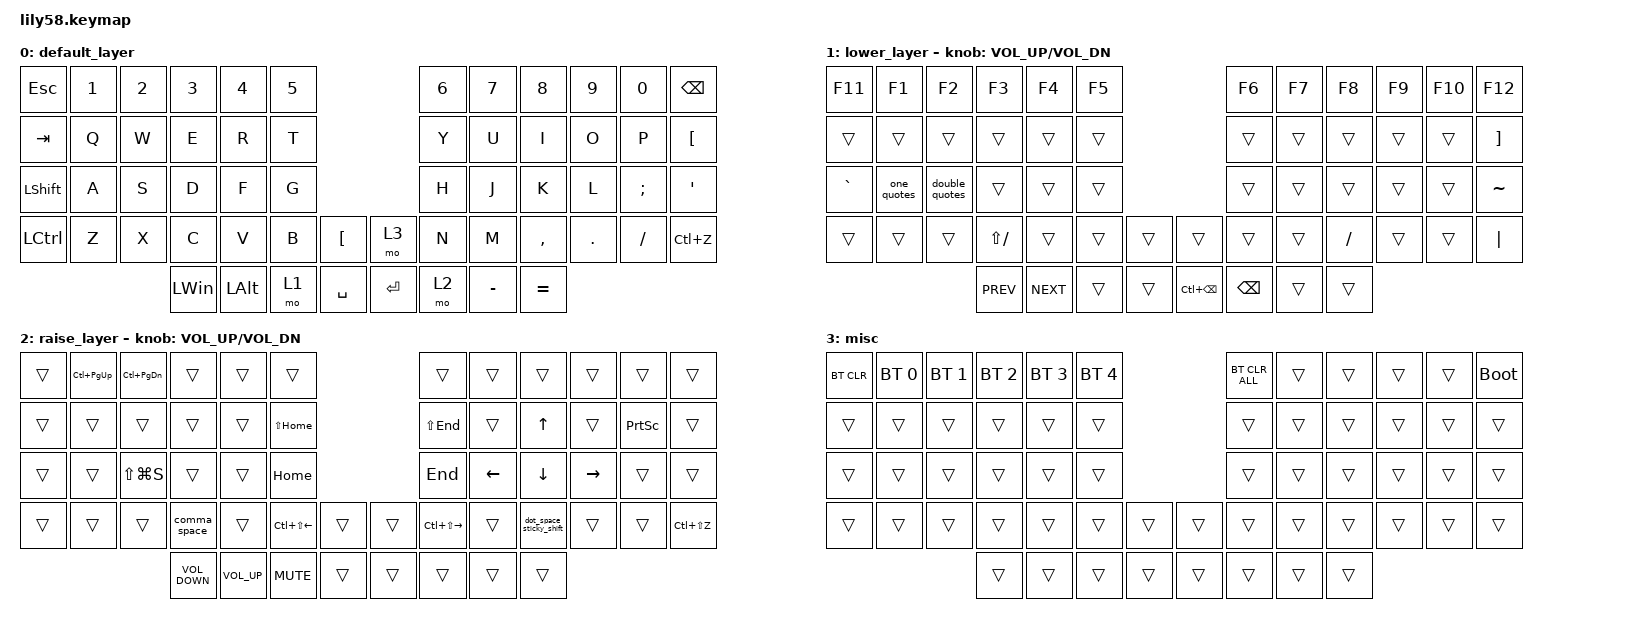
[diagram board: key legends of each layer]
/*
 * Copyright (c) 2020 The ZMK Contributors
 *
 * SPDX-License-Identifier: MIT
 */

#include <behaviors.dtsi>
#include <dt-bindings/zmk/bt.h>
#include <dt-bindings/zmk/keys.h>

/ {
    combos {
        compatible = "zmk,combos";

        combo_esc {
            timeout-ms = <50>;
            key-positions = <0 1>;
            bindings = <&kp LA(LEFT_SHIFT)>;
        };

        to_misc_layer {
            bindings = <&mo 3>;
            key-positions = <52 55>;
        };
    };

    behaviors {
        ss_hs_modmorph: ss_hs_modmorph {
            compatible = "zmk,behavior-mod-morph";
            label = "SS_HS_MODMORPH";
            bindings = <&kp M>, <&kp RIGHT_BRACKET>;

            #binding-cells = <0>;
            mods = <(MOD_LSFT|MOD_RSFT)>;
        };

        kh_hs_tapdance: kh_hs_tapdance {
            compatible = "zmk,behavior-tap-dance";
            label = "KH_HS_TAPDANCE";
            #binding-cells = <0>;
            tapping-term-ms = <200>;
            bindings = <&kp LEFT_BRACKET>, <&kp RIGHT_BRACKET>;
        };

        hrm: hrm {
            compatible = "zmk,behavior-hold-tap";
            #binding-cells = <2>;
            flavor = "tap-preferred";
            tapping-term-ms = <200>;
            quick-tap-ms = <200>;
            require-prior-idle-ms = <125>;
            bindings = <&kp>, <&kp>;
        };

        right_sticky_quick: right_sticky_quick {
            compatible = "zmk,behavior-sticky-key";
            label = "RIGHT_STICKY_QUICK";
            bindings = <&kp>;
            #binding-cells = <1>;
            quick-release;
            release-after-ms = <1000>;
        };
    };

    macros {
        comma_space: comma_space {
            compatible = "zmk,behavior-macro";
            #binding-cells = <0>;
            bindings = <&kp LS(SLASH) &kp SPACE>;
            label = "COMMA_SPACE";
        };

        dot_space_sticky_shift: dot_space_sticky_shift {
            compatible = "zmk,behavior-macro";
            #binding-cells = <0>;
            bindings = <&kp SLASH &kp SPACE &right_sticky_quick LEFT_SHIFT>;
            label = "DOT_SPACE_STICKY_SHIFT";
        };

        one_quotes: one_quotes {
            compatible = "zmk,behavior-macro";
            #binding-cells = <0>;
            bindings = <&kp LA(LEFT_SHIFT) &kp SINGLE_QUOTE &kp LA(LEFT_SHIFT)>;
            label = "ONE_QUOTES";
        };

        double_quotes: double_quotes {
            compatible = "zmk,behavior-macro";
            #binding-cells = <0>;
            bindings = <&kp LA(LEFT_SHIFT) &kp DOUBLE_QUOTES &kp LA(LEFT_SHIFT)>;
            label = "DOUBLE_QUOTES";
        };
    };

    keymap {
        compatible = "zmk,keymap";

        default_layer {
            // ------------------------------------------------------------------------------------------------------------
            // |  ESC  |  1  |  2  |  3   |  4   |  5   |                   |  6   |  7    |  8    |  9   |   0   |   `   |
            // |  TAB  |  Q  |  W  |  E   |  R   |  T   |                   |  Y   |  U    |  I    |  O   |   P   |   -   |
            // |  CTRL |  A  |  S  |  D   |  F   |  G   |                   |  H   |  J    |  K    |  L   |   ;   |   '   |
            // | SHIFT |  Z  |  X  |  C   |  V   |  B   |   "["  |  |  "]"  |  N   |  M    |  ,    |  .   |   /   | SHIFT |
            //                     | ALT  | GUI  | LOWER|  SPACE |  | ENTER | RAISE| BSPC  | GUI   |

            bindings = <
&kp ESC         &kp N1  &kp N2  &kp N3        &kp N4        &kp N5                        &kp N6  &kp N7     &kp N8     &kp N9   &kp N0    &kp BACKSPACE
&kp TAB         &kp Q   &kp W   &kp E         &kp R         &kp T                         &kp Y   &kp U      &kp I      &kp O    &kp P     &kp LEFT_BRACKET
&kp LEFT_SHIFT  &kp A   &kp S   &kp D         &kp F         &kp G                         &kp H   &kp J      &kp K      &kp L    &kp SEMI  &kp SQT
&kp LCTRL       &kp Z   &kp X   &kp C         &kp V         &kp B   &kp LBKT     &mo 3    &kp N   &kp M      &kp COMMA  &kp DOT  &kp FSLH  &kp LC(Z)
                                &kp LEFT_WIN  &kp LEFT_ALT  &mo 1   &kp SPACE    &kp RET  &mo 2   &kp MINUS  &kp EQUAL
            >;
        };

        lower_layer {
            // ------------------------------------------------------------------------------------------------------------
            // | BTCLR | BT1 | BT2 |  BT3 |  BT4 |  BT5 |                   |      |       |       |      |       |       |
            // |  F1   |  F2 |  F3 |  F4  |  F5  |  F6  |                   |  F7  |  F8   |  F9   |  F10 |  F11  |  F12  |
            // |   `   |  !  |  @  |  #   |  $   |  %   |                   |  ^   |  &    |  *    |  (   |   )   |   ~   |
            // |       |     |     |      |      |      |        |  |       |      |  _    |  +    |  {   |   }   |  "|"  |
            //                     |      |      |      |        |  |       |      |       |       |

            bindings = <
&kp F11    &kp F1       &kp F2          &kp F3         &kp F4      &kp F5                               &kp F6         &kp F7  &kp F8     &kp F9  &kp F10  &kp F12
&trans     &trans       &trans          &trans         &trans      &trans                               &trans         &trans  &trans     &trans  &trans   &kp RIGHT_BRACKET
&kp GRAVE  &one_quotes  &double_quotes  &trans         &trans      &trans                               &trans         &trans  &trans     &trans  &trans   &kp TILDE
&trans     &trans       &trans          &kp LS(SLASH)  &trans      &trans  &trans    &trans             &trans         &trans  &kp SLASH  &trans  &trans   &kp PIPE
                                        &kp C_PREV     &kp C_NEXT  &trans  &trans    &kp LC(BACKSPACE)  &kp BACKSPACE  &trans  &trans
            >;

            sensor-bindings = <&inc_dec_kp C_VOL_UP C_VOL_DN>;
        };

        raise_layer {
            // ------------------------------------------------------------------------------------------------------------
            // |       |     |     |      |      |      |                   |      |       |       |      |       |       |
            // |   `   |  1  |  2  |  3   |  4   |  5   |                   |  6   |   7   |   8   |  9   |   0   |       |
            // |   F1  |  F2 |  F3 |  F4  |  F5  |  F6  |                   |      |   <-  |   v   |  ^   |  ->   |       |
            // |   F7  |  F8 |  F9 |  F10 |  F11 |  F12 |        |  |       |  +   |   -   |   =   |  [   |   ]   |   \   |
            //                     |      |      |      |        |  |       |      |       |       |

            bindings = <
&trans  &kp LC(PAGE_UP)  &kp LC(PAGE_DOWN)  &trans             &trans           &trans                              &trans             &trans    &trans                   &trans     &trans           &trans
&trans  &trans           &trans             &trans             &trans           &kp LS(HOME)                        &kp LS(END)        &trans    &kp UP_ARROW             &trans     &kp PRINTSCREEN  &trans
&trans  &trans           &kp LS(LG(S))      &trans             &trans           &kp HOME                            &kp END            &kp LEFT  &kp DOWN                 &kp RIGHT  &trans           &trans
&trans  &trans           &trans             &comma_space       &trans           &kp LC(LS(LEFT))  &trans    &trans  &kp LC(LS(RIGHT))  &trans    &dot_space_sticky_shift  &trans     &trans           &kp LC(LS(Z))
                                            &kp C_VOLUME_DOWN  &kp C_VOLUME_UP  &kp C_MUTE        &trans    &trans  &trans             &trans    &trans
            >;

            sensor-bindings = <&inc_dec_kp C_VOL_UP C_VOL_DN>;
        };

        misc {
            bindings = <
&bt BT_CLR  &bt BT_SEL 0  &bt BT_SEL 1  &bt BT_SEL 2  &bt BT_SEL 3  &bt BT_SEL 4                    &bt BT_CLR_ALL  &trans  &trans  &trans  &trans  &bootloader
&trans      &trans        &trans        &trans        &trans        &trans                          &trans          &trans  &trans  &trans  &trans  &trans
&trans      &trans        &trans        &trans        &trans        &trans                          &trans          &trans  &trans  &trans  &trans  &trans
&trans      &trans        &trans        &trans        &trans        &trans        &trans    &trans  &trans          &trans  &trans  &trans  &trans  &trans
                                        &trans        &trans        &trans        &trans    &trans  &trans          &trans  &trans
            >;
        };
    };
};
